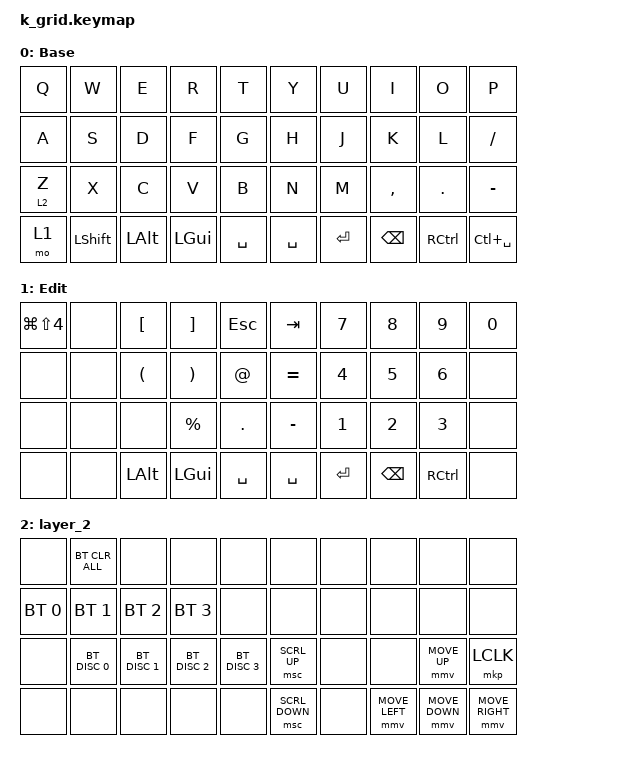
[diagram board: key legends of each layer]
#include <behaviors.dtsi>
#include <dt-bindings/zmk/bt.h>
#include <dt-bindings/zmk/keys.h>
#include <dt-bindings/zmk/pointing.h>

/ {
    keymap {
        compatible = "zmk,keymap";

        default_layer {
            display-name = "Base";
            bindings = <
&kp Q    &kp W           &kp E         &kp R     &kp T      &kp Y      &kp U      &kp I          &kp O      &kp P
&kp A    &kp S           &kp D         &kp F     &kp G      &kp H      &kp J      &kp K          &kp L      &kp SLASH
&lt 2 Z  &kp X           &kp C         &kp V     &kp B      &kp N      &kp M      &kp COMMA      &kp DOT    &kp MINUS
&mo 1    &kp LEFT_SHIFT  &kp LEFT_ALT  &kp LGUI  &kp SPACE  &kp SPACE  &kp ENTER  &kp BACKSPACE  &kp RCTRL  &kp LC(SPACE)
            >;
        };

        layer_1 {
            display-name = "Edit";
            bindings = <
&kp LG(LS(NUMBER_4))  &none  &kp LBKT      &kp RBKT      &kp ESC    &kp TAB    &kp N7   &kp N8         &kp N9        &kp N0
&none                 &none  &kp LPAR      &kp RPAR      &kp AT     &kp EQUAL  &kp N4   &kp N5         &kp N6        &none
&none                 &none  &none         &kp PERCENT   &kp DOT    &kp MINUS  &kp N1   &kp N2         &kp NUMBER_3  &none
&none                 &none  &kp LEFT_ALT  &kp LEFT_GUI  &kp SPACE  &kp SPACE  &kp RET  &kp BACKSPACE  &kp RCTRL     &none
            >;
        };

        layer_2 {
            bindings = <
&none         &bt BT_CLR_ALL  &none          &none          &none          &none           &none  &none           &none           &none
&bt BT_SEL 0  &bt BT_SEL 1    &bt BT_SEL 2   &bt BT_SEL 3   &none          &none           &none  &none           &none           &none
&none         &bt BT_DISC 0   &bt BT_DISC 1  &bt BT_DISC 2  &bt BT_DISC 3  &msc SCRL_UP    &none  &none           &mmv MOVE_UP    &mkp LCLK
&none         &none           &none          &none          &none          &msc SCRL_DOWN  &none  &mmv MOVE_LEFT  &mmv MOVE_DOWN  &mmv MOVE_RIGHT
            >;
        };
    };
};
